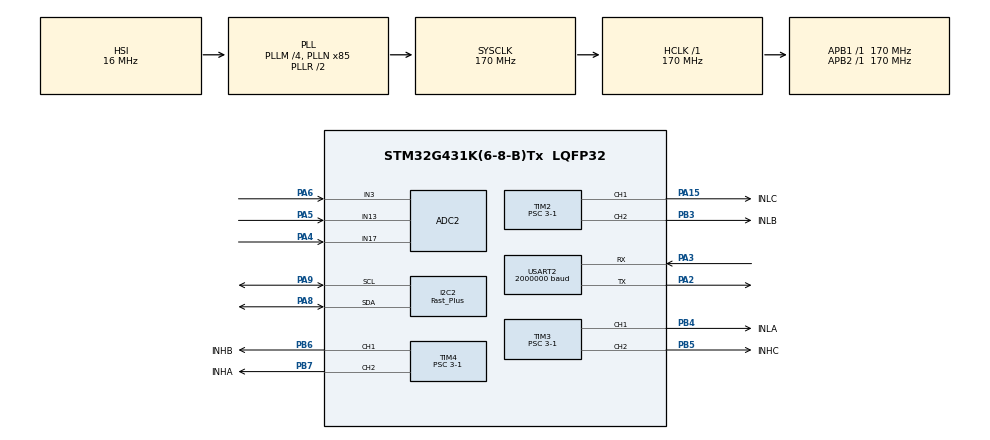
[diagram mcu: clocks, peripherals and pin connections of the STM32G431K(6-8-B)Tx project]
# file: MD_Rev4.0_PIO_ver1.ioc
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ADC1.Channel-4\#ChannelRegularConversion=ADC_CHANNEL_VREFINT
ADC1.ContinuousConvMode=ENABLE
ADC1.DMAContinuousRequests=ENABLE
ADC1.NbrOfConversionFlag=1
ADC1.OffsetNumber-4\#ChannelRegularConversion=ADC_OFFSET_NONE
ADC1.Rank-4\#ChannelRegularConversion=1
ADC1.SamplingTime-4\#ChannelRegularConversion=ADC_SAMPLETIME_47CYCLES_5
ADC1.master=1
ADC2.Channel-2\#ChannelRegularConversion=ADC_CHANNEL_17
ADC2.Channel-3\#ChannelRegularConversion=ADC_CHANNEL_13
ADC2.Channel-4\#ChannelRegularConversion=ADC_CHANNEL_3
ADC2.ContinuousConvMode=DISABLE
ADC2.DMAContinuousRequests=ENABLE
ADC2.DiscontinuousConvMode=DISABLE
ADC2.EOCSelection=ADC_EOC_SEQ_CONV
ADC2.ExternalTrigConv=ADC_EXTERNALTRIG_T3_TRGO
ADC2.NbrOfConversion=3
ADC2.NbrOfConversionFlag=1
ADC2.OffsetNumber-2\#ChannelRegularConversion=ADC_OFFSET_NONE
ADC2.OffsetNumber-3\#ChannelRegularConversion=ADC_OFFSET_NONE
ADC2.OffsetNumber-4\#ChannelRegularConversion=ADC_OFFSET_NONE
ADC2.OversamplingMode=ENABLE
ADC2.Rank-2\#ChannelRegularConversion=1
ADC2.Rank-3\#ChannelRegularConversion=2
ADC2.Rank-4\#ChannelRegularConversion=3
ADC2.Ratio=ADC_OVERSAMPLING_RATIO_4
ADC2.SamplingTime-2\#ChannelRegularConversion=ADC_SAMPLETIME_47CYCLES_5
ADC2.SamplingTime-3\#ChannelRegularConversion=ADC_SAMPLETIME_24CYCLES_5
ADC2.SamplingTime-4\#ChannelRegularConversion=ADC_SAMPLETIME_47CYCLES_5
Dma.ADC1.5.Direction=DMA_PERIPH_TO_MEMORY
Dma.ADC1.5.EventEnable=DISABLE
Dma.ADC1.5.Instance=DMA1_Channel2
Dma.ADC1.5.MemDataAlignment=DMA_MDATAALIGN_HALFWORD
Dma.ADC1.5.MemInc=DMA_MINC_ENABLE
Dma.ADC1.5.Mode=DMA_CIRCULAR
Dma.ADC1.5.PeriphDataAlignment=DMA_PDATAALIGN_HALFWORD
Dma.ADC1.5.PeriphInc=DMA_PINC_DISABLE
Dma.ADC1.5.Polarity=HAL_DMAMUX_REQ_GEN_RISING
Dma.ADC1.5.Priority=DMA_PRIORITY_LOW
Dma.ADC1.5.RequestNumber=1
Dma.ADC1.5.SignalID=NONE
Dma.ADC1.5.SyncEnable=DISABLE
Dma.ADC1.5.SyncPolarity=HAL_DMAMUX_SYNC_NO_EVENT
Dma.ADC1.5.SyncRequestNumber=1
Dma.ADC1.5.SyncSignalID=NONE
Dma.ADC2.0.Direction=DMA_PERIPH_TO_MEMORY
Dma.ADC2.0.EventEnable=DISABLE
Dma.ADC2.0.Instance=DMA1_Channel1
Dma.ADC2.0.MemDataAlignment=DMA_MDATAALIGN_HALFWORD
Dma.ADC2.0.MemInc=DMA_MINC_ENABLE
Dma.ADC2.0.Mode=DMA_CIRCULAR
Dma.ADC2.0.PeriphDataAlignment=DMA_PDATAALIGN_HALFWORD
Dma.ADC2.0.PeriphInc=DMA_PINC_DISABLE
Dma.ADC2.0.Polarity=HAL_DMAMUX_REQ_GEN_RISING
Dma.ADC2.0.Priority=DMA_PRIORITY_LOW
Dma.ADC2.0.RequestNumber=1
Dma.ADC2.0.SignalID=NONE
Dma.ADC2.0.SyncEnable=DISABLE
Dma.ADC2.0.SyncPolarity=HAL_DMAMUX_SYNC_NO_EVENT
Dma.ADC2.0.SyncRequestNumber=1
Dma.ADC2.0.SyncSignalID=NONE
Dma.I2C2_RX.1.Direction=DMA_PERIPH_TO_MEMORY
Dma.I2C2_RX.1.EventEnable=DISABLE
Dma.I2C2_RX.1.Instance=DMA1_Channel3
Dma.I2C2_RX.1.MemDataAlignment=DMA_MDATAALIGN_BYTE
Dma.I2C2_RX.1.MemInc=DMA_MINC_ENABLE
Dma.I2C2_RX.1.Mode=DMA_NORMAL
Dma.I2C2_RX.1.PeriphDataAlignment=DMA_PDATAALIGN_BYTE
Dma.I2C2_RX.1.PeriphInc=DMA_PINC_DISABLE
Dma.I2C2_RX.1.Polarity=HAL_DMAMUX_REQ_GEN_RISING
Dma.I2C2_RX.1.Priority=DMA_PRIORITY_LOW
Dma.I2C2_RX.1.RequestNumber=1
Dma.I2C2_RX.1.SignalID=NONE
Dma.I2C2_RX.1.SyncEnable=DISABLE
Dma.I2C2_RX.1.SyncPolarity=HAL_DMAMUX_SYNC_NO_EVENT
Dma.I2C2_RX.1.SyncRequestNumber=1
Dma.I2C2_RX.1.SyncSignalID=NONE
Dma.I2C2_TX.2.Direction=DMA_MEMORY_TO_PERIPH
Dma.I2C2_TX.2.EventEnable=DISABLE
Dma.I2C2_TX.2.Instance=DMA1_Channel4
Dma.I2C2_TX.2.MemDataAlignment=DMA_MDATAALIGN_BYTE
Dma.I2C2_TX.2.MemInc=DMA_MINC_ENABLE
Dma.I2C2_TX.2.Mode=DMA_NORMAL
Dma.I2C2_TX.2.PeriphDataAlignment=DMA_PDATAALIGN_BYTE
Dma.I2C2_TX.2.PeriphInc=DMA_PINC_DISABLE
Dma.I2C2_TX.2.Polarity=HAL_DMAMUX_REQ_GEN_RISING
Dma.I2C2_TX.2.Priority=DMA_PRIORITY_LOW
Dma.I2C2_TX.2.RequestNumber=1
Dma.I2C2_TX.2.SignalID=NONE
Dma.I2C2_TX.2.SyncEnable=DISABLE
Dma.I2C2_TX.2.SyncPolarity=HAL_DMAMUX_SYNC_NO_EVENT
Dma.I2C2_TX.2.SyncRequestNumber=1
Dma.I2C2_TX.2.SyncSignalID=NONE
Dma.Request0=ADC2
Dma.Request1=I2C2_RX
Dma.Request2=I2C2_TX
Dma.Request3=USART2_TX
Dma.Request4=USART2_RX
Dma.Request5=ADC1
Dma.USART2_RX.4.Direction=DMA_PERIPH_TO_MEMORY
Dma.USART2_RX.4.EventEnable=DISABLE
Dma.USART2_RX.4.Instance=DMA1_Channel6
Dma.USART2_RX.4.MemDataAlignment=DMA_MDATAALIGN_BYTE
Dma.USART2_RX.4.MemInc=DMA_MINC_ENABLE
Dma.USART2_RX.4.Mode=DMA_NORMAL
Dma.USART2_RX.4.PeriphDataAlignment=DMA_PDATAALIGN_BYTE
Dma.USART2_RX.4.PeriphInc=DMA_PINC_DISABLE
Dma.USART2_RX.4.Polarity=HAL_DMAMUX_REQ_GEN_RISING
Dma.USART2_RX.4.Priority=DMA_PRIORITY_LOW
Dma.USART2_RX.4.RequestNumber=1
Dma.USART2_RX.4.SignalID=NONE
Dma.USART2_RX.4.SyncEnable=DISABLE
Dma.USART2_RX.4.SyncPolarity=HAL_DMAMUX_SYNC_NO_EVENT
Dma.USART2_RX.4.SyncRequestNumber=1
Dma.USART2_RX.4.SyncSignalID=NONE
Dma.USART2_TX.3.Direction=DMA_MEMORY_TO_PERIPH
Dma.USART2_TX.3.EventEnable=DISABLE
Dma.USART2_TX.3.Instance=DMA1_Channel5
Dma.USART2_TX.3.MemDataAlignment=DMA_MDATAALIGN_BYTE
Dma.USART2_TX.3.MemInc=DMA_MINC_ENABLE
Dma.USART2_TX.3.Mode=DMA_NORMAL
Dma.USART2_TX.3.PeriphDataAlignment=DMA_PDATAALIGN_BYTE
Dma.USART2_TX.3.PeriphInc=DMA_PINC_DISABLE
Dma.USART2_TX.3.Polarity=HAL_DMAMUX_REQ_GEN_RISING
Dma.USART2_TX.3.Priority=DMA_PRIORITY_LOW
Dma.USART2_TX.3.RequestNumber=1
Dma.USART2_TX.3.SignalID=NONE
Dma.USART2_TX.3.SyncEnable=DISABLE
Dma.USART2_TX.3.SyncPolarity=HAL_DMAMUX_SYNC_NO_EVENT
Dma.USART2_TX.3.SyncRequestNumber=1
Dma.USART2_TX.3.SyncSignalID=NONE
I2C2.I2C_Speed_Mode=I2C_Fast_Plus
I2C2.Timing=0x4052060F
Mcu.Family=STM32G4
Mcu.Name=STM32G431K(6-8-B)Tx
Mcu.Package=LQFP32
NVIC.ADC1_2_IRQn=true\:0\:0\:false\:false\:true\:true\:true\:true
NVIC.DMA1_Channel1_IRQn=true\:0\:0\:false\:false\:true\:false\:true\:true
NVIC.DMA1_Channel2_IRQn=true\:0\:0\:false\:false\:true\:false\:true\:true
NVIC.DMA1_Channel3_IRQn=true\:0\:0\:false\:false\:true\:false\:true\:true
NVIC.DMA1_Channel4_IRQn=true\:0\:0\:false\:false\:true\:false\:true\:true
NVIC.DMA1_Channel5_IRQn=true\:0\:0\:false\:false\:true\:false\:true\:true
NVIC.DMA1_Channel6_IRQn=true\:0\:0\:false\:false\:true\:false\:true\:true
NVIC.PriorityGroup=NVIC_PRIORITYGROUP_4
NVIC.TIM1_BRK_TIM15_IRQn=true\:0\:0\:false\:false\:true\:true\:true\:true
NVIC.TIM1_TRG_COM_TIM17_IRQn=true\:0\:0\:false\:false\:true\:true\:true\:true
NVIC.TIM1_UP_TIM16_IRQn=true\:0\:0\:false\:false\:true\:true\:true\:true
NVIC.USART2_IRQn=true\:0\:0\:false\:false\:true\:true\:true\:true
PA15.GPIO_Label=INLC
PA15.Signal=S_TIM2_CH1
PA2.Mode=Asynchronous
PA2.Signal=USART2_TX
PA3.Mode=Asynchronous
PA3.Signal=USART2_RX
PA4.Mode=IN17-Single-Ended
PA4.Signal=ADC2_IN17
PA5.Mode=IN13-Single-Ended
PA5.Signal=ADC2_IN13
PA6.Mode=IN3-Single-Ended
PA6.Signal=ADC2_IN3
PA8.Mode=I2C
PA8.Signal=I2C2_SDA
PA9.Mode=I2C
PA9.Signal=I2C2_SCL
PB0.Signal=ADC1_IN15
PB3.GPIO_Label=INLB
PB3.Signal=S_TIM2_CH2
PB4.GPIO_Label=INLA
PB4.Signal=S_TIM3_CH1
PB5.GPIO_Label=INHC
PB5.Signal=S_TIM3_CH2
PB6.GPIO_Label=INHB
PB6.Signal=S_TIM4_CH1
PB7.GPIO_Label=INHA
PB7.Signal=S_TIM4_CH2
ProjectManager.HeapSize=0x200
ProjectManager.StackSize=0x400
ProjectManager.TargetToolchain=CMake
RCC.ADC12Freq_Value=170000000
RCC.AHBFreq_Value=170000000
RCC.APB1Freq_Value=170000000
RCC.APB1TimFreq_Value=170000000
RCC.APB2Freq_Value=170000000
RCC.APB2TimFreq_Value=170000000
RCC.CortexFreq_Value=170000000
RCC.EXTERNAL_CLOCK_VALUE=12288000
RCC.HCLKFreq_Value=170000000
RCC.HSE_VALUE=8000000
RCC.HSI48_VALUE=48000000
RCC.HSI_VALUE=16000000
RCC.LSE_VALUE=32768
RCC.PLLM=RCC_PLLM_DIV4
RCC.PLLN=85
RCC.SYSCLKFreq_VALUE=170000000
RCC.SYSCLKSource=RCC_SYSCLKSOURCE_PLLCLK
RCC.USBFreq_Value=170000000
RCC.VCOOutputFreq_Value=340000000
SH.S_TIM2_CH1.0=TIM2_CH1,PWM Generation1 CH1
SH.S_TIM2_CH2.0=TIM2_CH2,PWM Generation2 CH2
SH.S_TIM3_CH1.0=TIM3_CH1,PWM Generation1 CH1
SH.S_TIM3_CH2.0=TIM3_CH2,PWM Generation2 CH2
SH.S_TIM4_CH1.0=TIM4_CH1,PWM Generation1 CH1
SH.S_TIM4_CH2.0=TIM4_CH2,PWM Generation2 CH2
TIM15.PeriodNoDither=10-1
TIM15.Prescaler=170-1
TIM16.PeriodNoDither=1000-1
TIM16.Prescaler=170-1
TIM17.PeriodNoDither=5000-1
TIM17.Prescaler=34000-1
TIM2.Channel-PWM\ Generation1\ CH1=TIM_CHANNEL_1
TIM2.Channel-PWM\ Generation2\ CH2=TIM_CHANNEL_2
TIM2.CounterMode=TIM_COUNTERMODE_CENTERALIGNED1
TIM2.OCMode_PWM-PWM\ Generation1\ CH1=TIM_OCMODE_PWM2
TIM2.OCMode_PWM-PWM\ Generation2\ CH2=TIM_OCMODE_PWM2
TIM2.PeriodNoDither=1000-1
TIM2.Prescaler=3-1
TIM2.TIM_MasterOutputTrigger=TIM_TRGO_ENABLE
TIM2.TIM_MasterSlaveMode=TIM_MASTERSLAVEMODE_ENABLE
TIM3.Channel-PWM\ Generation1\ CH1=TIM_CHANNEL_1
TIM3.Channel-PWM\ Generation2\ CH2=TIM_CHANNEL_2
TIM3.CounterMode=TIM_COUNTERMODE_CENTERALIGNED1
TIM3.OCMode_PWM-PWM\ Generation1\ CH1=TIM_OCMODE_PWM2
TIM3.OCMode_PWM-PWM\ Generation2\ CH2=TIM_OCMODE_PWM1
TIM3.PeriodNoDither=1000-1
TIM3.Prescaler=3-1
TIM3.TIM_MasterOutputTrigger=TIM_TRGO_UPDATE
TIM3.TIM_MasterSlaveMode=TIM_MASTERSLAVEMODE_DISABLE
TIM4.Channel-PWM\ Generation1\ CH1=TIM_CHANNEL_1
TIM4.Channel-PWM\ Generation2\ CH2=TIM_CHANNEL_2
TIM4.CounterMode=TIM_COUNTERMODE_CENTERALIGNED1
TIM4.OCMode_PWM-PWM\ Generation1\ CH1=TIM_OCMODE_PWM1
TIM4.OCMode_PWM-PWM\ Generation2\ CH2=TIM_OCMODE_PWM1
TIM4.PeriodNoDither=1000-1
TIM4.Prescaler=3-1
USART2.BaudRate=2000000
USART2.VirtualMode-Asynchronous=VM_ASYNC
VP_ADC1_Vref_Input.Mode=IN-Vrefint
VP_SYS_VS_DBSignals.Mode=DisableDeadBatterySignals
VP_TIM15_VS_ClockSourceINT.Mode=Internal
VP_TIM16_VS_ClockSourceINT.Mode=Enable_Timer
VP_TIM17_VS_ClockSourceINT.Mode=Enable_Timer
VP_TIM2_VS_ClockSourceINT.Mode=Internal
VP_TIM3_VS_ClockSourceINT.Mode=Internal
VP_TIM3_VS_ClockSourceITR.Mode=TriggerSource_ITR1
VP_TIM3_VS_ControllerModeTrigger.Mode=Trigger Mode
VP_TIM4_VS_ClockSourceINT.Mode=Internal
VP_TIM4_VS_ClockSourceITR.Mode=TriggerSource_ITR1
VP_TIM4_VS_ControllerModeTrigger.Mode=Trigger Mode
board=custom

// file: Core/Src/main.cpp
/* USER CODE BEGIN Header */
/**
 ******************************************************************************
 * @file           : main.c
 * @brief          : Main program body
 ******************************************************************************
 * @attention
 *
 * Copyright (c) 2025 STMicroelectronics.
 * All rights reserved.
 *
 * This software is licensed under terms that can be found in the LICENSE file
 * in the root directory of this software component.
 * If no LICENSE file comes with this software, it is provided AS-IS.
 *
 ******************************************************************************
 */
/* USER CODE END Header */
#include "main.h"

#include "adc.h"
#include "dma.h"
#include "gpio.h"
#include "i2c.h"
#include "tim.h"
#include "usart.h"

/* USER CODE BEGIN Includes */
#include "driver.hpp"
#include "enc.hpp"
#include "math.hpp"
#include "motor.hpp"
/* USER CODE END Includes */

/* USER CODE BEGIN PD */
#define ENC_RES 4096
#define BATTERY_VOLTAGE 19.0f
#define MAX_DUTY 1000
#define MOTOR_POLES_NUM 7
#define CURRENT_SENSE_ADC_RES 16384
#define CURRENT_SENSE_ADC_REF_VOLTAGE 3.3f
#define CURRENT_SENSE_AMP_GAIN 100
#define CURRENT_SENSE_SHUNT_RESISTANCE 0.003f
#define CONTROL_PERIOD 500  // us
#define DEBUG_PERIOD 1000   // us
/* USER CODE END PD */

void SystemClock_Config(void);

/* USER CODE BEGIN 0 */
asm(".global _printf_float");
Motor motor(ENC_RES, BATTERY_VOLTAGE, MAX_DUTY, MOTOR_POLES_NUM, CURRENT_SENSE_ADC_RES, CURRENT_SENSE_ADC_REF_VOLTAGE, CURRENT_SENSE_AMP_GAIN, CURRENT_SENSE_SHUNT_RESISTANCE);
/* USER CODE END 0 */

int main(void) {

    /* MCU Configuration--------------------------------------------------------*/

    /* Reset of all peripherals, Initializes the Flash interface and the Systick. */
    HAL_Init();

    /* Configure the system clock */
    SystemClock_Config();

    /* Initialize all configured peripherals */
    MX_GPIO_Init();
    MX_DMA_Init();
    MX_TIM2_Init();
    MX_TIM3_Init();
    MX_TIM4_Init();
    MX_TIM15_Init();
    MX_TIM16_Init();
    MX_TIM17_Init();
    MX_ADC1_Init();
    MX_ADC2_Init();
    MX_USART2_UART_Init();
    MX_I2C2_Init();
    /* USER CODE BEGIN 2 */
    fastSinfInit();
    fastCosfInit();

    motor.init();
    HAL_Delay(500);
    motor.timerStart();
    /* USER CODE END 2 */

    /* Infinite loop */
    while (1) {

    }
}

void SystemClock_Config(void) {
    RCC_OscInitTypeDef RCC_OscInitStruct = {0};
    RCC_ClkInitTypeDef RCC_ClkInitStruct = {0};

    /** Configure the main internal regulator output voltage
     */
    HAL_PWREx_ControlVoltageScaling(PWR_REGULATOR_VOLTAGE_SCALE1_BOOST);

    /** Initializes the RCC Oscillators according to the specified parameters
     * in the RCC_OscInitTypeDef structure.
     */
    RCC_OscInitStruct.OscillatorType = RCC_OSCILLATORTYPE_HSI;
    RCC_OscInitStruct.HSIState = RCC_HSI_ON;
    RCC_OscInitStruct.HSICalibrationValue = RCC_HSICALIBRATION_DEFAULT;
    RCC_OscInitStruct.PLL.PLLState = RCC_PLL_ON;
    RCC_OscInitStruct.PLL.PLLSource = RCC_PLLSOURCE_HSI;
    RCC_OscInitStruct.PLL.PLLM = RCC_PLLM_DIV4;
    RCC_OscInitStruct.PLL.PLLN = 85;
    RCC_OscInitStruct.PLL.PLLP = RCC_PLLP_DIV2;
    RCC_OscInitStruct.PLL.PLLQ = RCC_PLLQ_DIV2;
    RCC_OscInitStruct.PLL.PLLR = RCC_PLLR_DIV2;
    if (HAL_RCC_OscConfig(&RCC_OscInitStruct) != HAL_OK) {
        Error_Handler();
    }

    /** Initializes the CPU, AHB and APB buses clocks
     */
    RCC_ClkInitStruct.ClockType = RCC_CLOCKTYPE_HCLK | RCC_CLOCKTYPE_SYSCLK | RCC_CLOCKTYPE_PCLK1 | RCC_CLOCKTYPE_PCLK2;
    RCC_ClkInitStruct.SYSCLKSource = RCC_SYSCLKSOURCE_PLLCLK;
    RCC_ClkInitStruct.AHBCLKDivider = RCC_SYSCLK_DIV1;
    RCC_ClkInitStruct.APB1CLKDivider = RCC_HCLK_DIV1;
    RCC_ClkInitStruct.APB2CLKDivider = RCC_HCLK_DIV1;

    if (HAL_RCC_ClockConfig(&RCC_ClkInitStruct, FLASH_LATENCY_4) != HAL_OK) {
        Error_Handler();
    }
}

/* USER CODE BEGIN 4 */
void HAL_TIM_PeriodElapsedCallback(TIM_HandleTypeDef *htim) {
    static float vol = 0.0f;
    static bool sign = true;
    if (htim->Instance == TIM15) {  // 10us
        static uint64_t time_us = 0;
        static uint16_t controlCnt = 0;
        if (controlCnt * 10 == CONTROL_PERIOD) {
            float elecAngle = motor.getElecAngle();
            uint16_t encVal = motor.enc->getVal(1);
            float phase = motor.getPhase();
            motor.setTurn(0);
            motor.driver->driveSinWave(vol, phase);
            time_us += CONTROL_PERIOD;
            char msg[1000];
            uint16_t len = sprintf(msg, "%d,%f,%f\n", encVal, elecAngle, phase);
            // HAL_UART_Transmit_DMA(&huart2, (uint8_t *)msg, len);
            motor.calcRpm(time_us);
            controlCnt = 0;
        }
        controlCnt++;
    }
    if (htim->Instance == TIM16) {  // 1ms
        static uint16_t debugCnt = 0;
        if (debugCnt * 1000 == DEBUG_PERIOD) {
            float elecAngle = motor.getElecAngle();
            float phase = motor.getPhase();
            float rpm = motor.getRpm();

            char msg[1000];
            uint16_t len = sprintf(msg, "rpm: %f\n", rpm);
            // HAL_UART_Transmit_DMA(&huart2, (uint8_t *)msg, len);
            debugCnt = 0;
        }
        debugCnt++;
    }
    if (htim->Instance == TIM17) {  // 1s
        if (sign) {
            vol += 0.25f;
            if (vol >= 3.0f) {
                sign = false;
            }
        }
        if (!sign) {
            vol -= 0.25f;
            if (vol <= 0.0f) {
                sign = true;
            }
        }
        char msg[1000];
        uint16_t len = sprintf(msg, "vol: %f\n", vol);
        HAL_UART_Transmit_DMA(&huart2, (uint8_t *)msg, len);
    }
}
/* USER CODE END 4 */

void Error_Handler(void) {
    __disable_irq();
    while (1) {
    }
}
